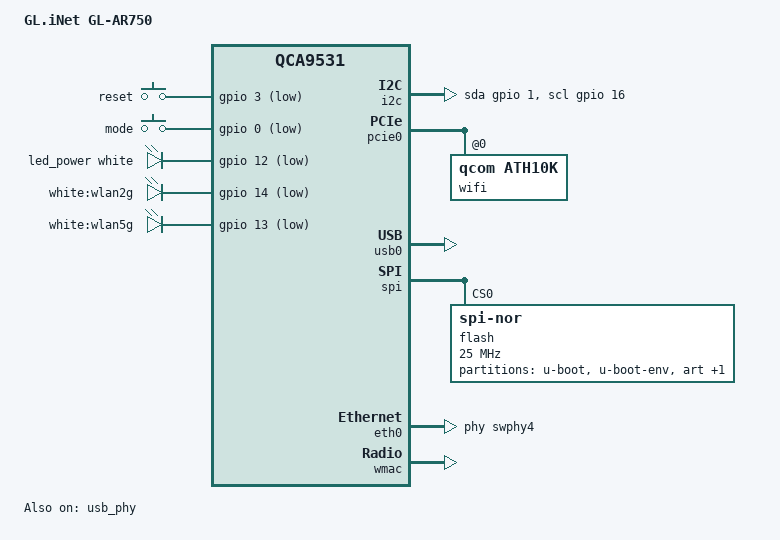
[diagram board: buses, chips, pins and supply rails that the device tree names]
// SPDX-License-Identifier: GPL-2.0-or-later OR MIT

#include "qca953x.dtsi"

#include <dt-bindings/gpio/gpio.h>
#include <dt-bindings/input/input.h>
#include <dt-bindings/leds/common.h>

/ {
	compatible = "glinet,gl-ar750", "qca,qca9531";
	model = "GL.iNet GL-AR750";

	aliases {
		led-boot = &led_power;
		led-failsafe = &led_power;
		led-running = &led_power;
		led-upgrade = &led_power;
		label-mac-device = &eth0;
	};

	keys {
		compatible = "gpio-keys";

		pinctrl-names = "default";
		pinctrl-0 = <&jtag_disable_pins>;

		reset {
			label = "reset";
			linux,code = <KEY_RESTART>;
			gpios = <&gpio 3 GPIO_ACTIVE_LOW>;
		};

		mode {
			label = "mode";
			linux,code = <BTN_0>;
			gpios = <&gpio 0 GPIO_ACTIVE_LOW>;
		};
	};

	leds {
		compatible = "gpio-leds";

		led_power: power {
			function = LED_FUNCTION_POWER;
			color = <LED_COLOR_ID_WHITE>;
			gpios = <&gpio 12 GPIO_ACTIVE_LOW>;
			default-state = "on";
		};

		wlan2g {
			label = "white:wlan2g";
			gpios = <&gpio 14 GPIO_ACTIVE_LOW>;
			linux,default-trigger = "phy1tpt";
		};

		wlan5g {
			label = "white:wlan5g";
			gpios = <&gpio 13 GPIO_ACTIVE_LOW>;
			linux,default-trigger = "phy0tpt";
		};
	};

	i2c {
		compatible = "i2c-gpio";

		sda-gpios = <&gpio  1 GPIO_ACTIVE_HIGH>;
		scl-gpios = <&gpio 16 GPIO_ACTIVE_HIGH>;
	};
};

&pcie0 {
	status = "okay";

	wifi@0,0 {
		compatible = "qcom,ath10k";
		reg = <0 0 0 0 0>;
		nvmem-cells = <&cal_art_5000>, <&macaddr_art_0 1>;
		nvmem-cell-names = "calibration", "mac-address";
	};
};

&usb0 {
	status = "okay";
};

&usb_phy {
	status = "okay";
};

&spi {
	status = "okay";

	flash@0 {
		compatible = "jedec,spi-nor";
		reg = <0>;
		spi-max-frequency = <25000000>;

		partitions {
			compatible = "fixed-partitions";
			#address-cells = <1>;
			#size-cells = <1>;

			partition@0 {
				label = "u-boot";
				reg = <0x000000 0x040000>;
				read-only;
			};

			partition@40000 {
				label = "u-boot-env";
				reg = <0x040000 0x010000>;
				read-only;
			};

			partition@50000 {
				label = "art";
				reg = <0x050000 0x010000>;
				read-only;

				nvmem-layout {
					compatible = "fixed-layout";
					#address-cells = <1>;
					#size-cells = <1>;

					macaddr_art_0: macaddr@0 {
						compatible = "mac-base";
						reg = <0x0 0x6>;
						#nvmem-cell-cells = <1>;
					};

					cal_art_1000: calibration@1000 {
						reg = <0x1000 0x440>;
					};

					cal_art_5000: calibration@5000 {
						reg = <0x5000 0x844>;
					};
				};
			};

			partition@60000 {
				compatible = "denx,uimage";
				label = "firmware";
				reg = <0x060000 0xfa0000>;
			};
		};
	};
};

&eth0 {
	status = "okay";

	phy-handle = <&swphy4>;

	nvmem-cells = <&macaddr_art_0 0>;
	nvmem-cell-names = "mac-address";
};

&eth1 {
	nvmem-cells = <&macaddr_art_0 1>;
	nvmem-cell-names = "mac-address";
};

&wmac {
	status = "okay";

	nvmem-cells = <&cal_art_1000>;
	nvmem-cell-names = "calibration";
};
